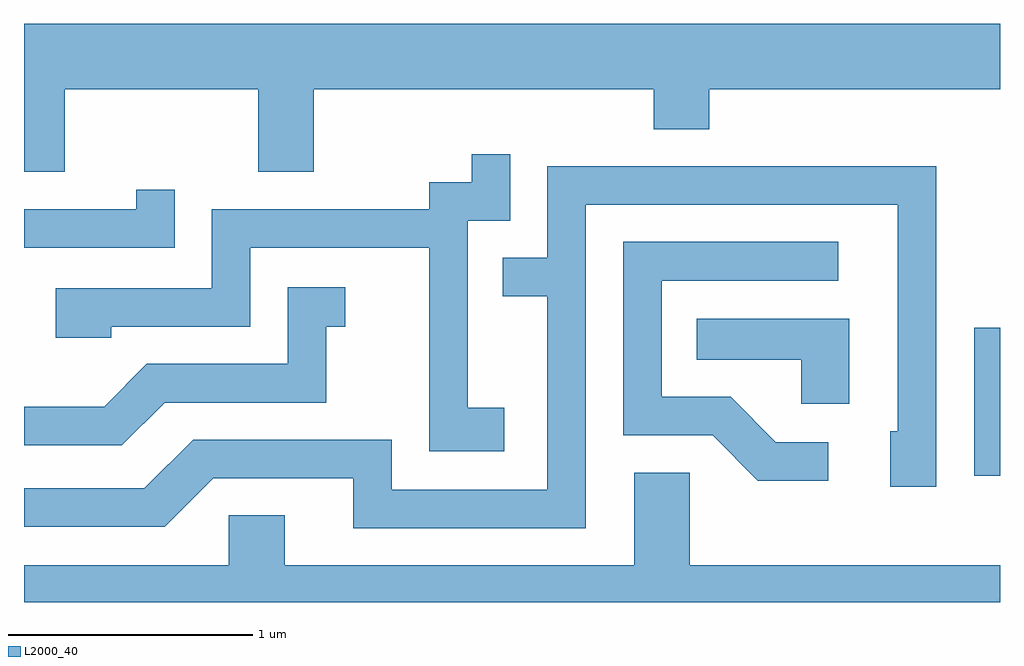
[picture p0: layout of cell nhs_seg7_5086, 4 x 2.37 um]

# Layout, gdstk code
import gdstk
lib = gdstk.Library(unit=1e-6, precision=1e-09)
def R(c, l, rs):  # rectangles x0, y0, x1, y1
    for r in rs: c.add(gdstk.rectangle(r[:2], r[2:], *l))
def P(c, l, *ps):  # polygons
    for p in ps: c.add(gdstk.Polygon(p, *l))
L2000_40 = (2000, 40)

nhs_seg7_5086 = lib.new_cell('nhs_seg7_5086')
R(nhs_seg7_5086, L2000_40, [(345.506,1672.771,345.611,1673.378)])
P(nhs_seg7_5086, L2000_40, [(341.779,1674.356),(342.571,1674.356),(342.571,1674.016),(342.799,1674.016),(342.799,1674.356),(344.191,1674.356),(344.191,1674.191),(344.419,1674.191),(344.419,1674.356),(345.611,1674.356),(345.611,1674.624),(341.611,1674.624),(341.611,1674.016),(341.779,1674.016)],
  [(343.579,1673.049),(343.429,1673.049),(343.429,1673.816),(343.604,1673.816),(343.604,1674.088),(343.446,1674.088),(343.446,1673.974),(343.271,1673.974),(343.271,1673.864),(342.381,1673.864),(342.381,1673.539),(341.741,1673.539),(341.741,1673.336),(341.969,1673.336),(341.969,1673.381),(342.539,1673.381),(342.539,1673.706),(343.271,1673.706),(343.271,1672.871),(343.579,1672.871)],
  [(343.914,1673.881),(345.191,1673.881),(345.191,1672.954),(345.161,1672.954),(345.161,1672.726),(345.349,1672.726),(345.349,1674.039),(343.756,1674.039),(343.756,1673.664),(343.573,1673.664),(343.573,1673.506),(343.756,1673.506),(343.756,1672.714),(343.119,1672.714),(343.119,1672.919),(342.304,1672.919),(342.104,1672.719),(341.611,1672.719),(341.611,1672.561),(342.187,1672.561),(342.387,1672.761),(342.961,1672.761),(342.961,1672.556),(343.914,1672.556)],
  [(342.229,1673.943),(342.071,1673.943),(342.071,1673.864),(341.611,1673.864),(341.611,1673.706),(342.229,1673.706)],
  [(344.908,1672.909),(344.692,1672.909),(344.507,1673.094),(344.224,1673.094),(344.224,1673.571),(344.948,1673.571),(344.948,1673.729),(344.066,1673.729),(344.066,1672.936),(344.434,1672.936),(344.619,1672.751),(344.908,1672.751)],
  [(342.187,1673.071),(342.849,1673.071),(342.849,1673.381),(342.928,1673.381),(342.928,1673.544),(342.691,1673.544),(342.691,1673.229),(342.114,1673.229),(341.939,1673.054),(341.611,1673.054),(341.611,1672.896),(342.012,1672.896)],
  [(344.994,1673.414),(344.368,1673.414),(344.368,1673.246),(344.796,1673.246),(344.796,1673.066),(344.994,1673.066)],
  [(345.611,1672.404),(344.339,1672.404),(344.339,1672.784),(344.111,1672.784),(344.111,1672.404),(342.679,1672.404),(342.679,1672.609),(342.451,1672.609),(342.451,1672.404),(341.611,1672.404),(341.611,1672.252),(345.611,1672.252)])

lib.write_gds('nhs_seg7_5086.gds')
